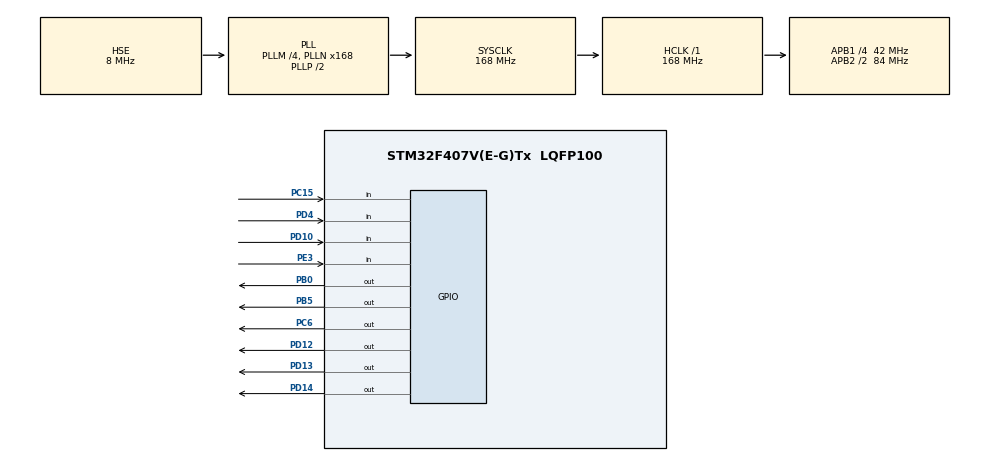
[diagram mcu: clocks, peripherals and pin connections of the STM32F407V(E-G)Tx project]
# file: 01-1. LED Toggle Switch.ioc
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Mcu.Family=STM32F4
Mcu.Name=STM32F407V(E-G)Tx
Mcu.Package=LQFP100
NVIC.PriorityGroup=NVIC_PRIORITYGROUP_4
PB0.Signal=GPIO_Output
PB5.Signal=GPIO_Output
PC15-OSC32_OUT.Signal=GPIO_Input
PC6.Signal=GPIO_Output
PD10.Signal=GPIO_Input
PD12.Signal=GPIO_Output
PD13.Signal=GPIO_Output
PD14.Signal=GPIO_Output
PD4.Signal=GPIO_Input
PE3.Signal=GPIO_Input
PH0-OSC_IN.Mode=HSE-External-Oscillator
PH0-OSC_IN.Signal=RCC_OSC_IN
PH1-OSC_OUT.Mode=HSE-External-Oscillator
PH1-OSC_OUT.Signal=RCC_OSC_OUT
ProjectManager.HeapSize=0x200
ProjectManager.StackSize=0x400
ProjectManager.TargetToolchain=STM32CubeIDE
RCC.48MHZClocksFreq_Value=84000000
RCC.AHBFreq_Value=168000000
RCC.APB1CLKDivider=RCC_HCLK_DIV4
RCC.APB1Freq_Value=42000000
RCC.APB1TimFreq_Value=84000000
RCC.APB2CLKDivider=RCC_HCLK_DIV2
RCC.APB2Freq_Value=84000000
RCC.APB2TimFreq_Value=168000000
RCC.CortexFreq_Value=168000000
RCC.HCLKFreq_Value=168000000
RCC.HSE_VALUE=8000000
RCC.HSI_VALUE=16000000
RCC.LSE_VALUE=32768
RCC.PLLM=4
RCC.PLLN=168
RCC.PLLSourceVirtual=RCC_PLLSOURCE_HSE
RCC.SYSCLKFreq_VALUE=168000000
RCC.SYSCLKSource=RCC_SYSCLKSOURCE_PLLCLK
RCC.VCOOutputFreq_Value=336000000
board=custom

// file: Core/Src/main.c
/* USER CODE BEGIN Header */
/**
  ******************************************************************************
  * @file           : main.c
  * @brief          : Main program body
  ******************************************************************************
  * @attention
  *
  * Copyright (c) 2025 STMicroelectronics.
  * All rights reserved.
  *
  * This software is licensed under terms that can be found in the LICENSE file
  * in the root directory of this software component.
  * If no LICENSE file comes with this software, it is provided AS-IS.
  *
  ******************************************************************************
  */
/* USER CODE END Header */
#include "main.h"
#include "gpio.h"

/* USER CODE BEGIN PV */
GPIO_PinState Prev_SW1_State = GPIO_PIN_RESET;
GPIO_PinState Prev_SW2_State = GPIO_PIN_RESET;
GPIO_PinState Prev_SW3_State = GPIO_PIN_RESET;

GPIO_PinState Curr_SW1_State = GPIO_PIN_RESET;
GPIO_PinState Curr_SW2_State = GPIO_PIN_RESET;
GPIO_PinState Curr_SW3_State = GPIO_PIN_RESET;

GPIO_PinState Pin_State;
/* USER CODE END PV */

void SystemClock_Config(void);

int main(void)
{

  /* MCU Configuration--------------------------------------------------------*/

  /* Reset of all peripherals, Initializes the Flash interface and the Systick. */
  HAL_Init();

  /* Configure the system clock */
  SystemClock_Config();

  /* Initialize all configured peripherals */
  MX_GPIO_Init();
  /* USER CODE BEGIN 2 */
  HAL_GPIO_WritePin(GPIOD, GPIO_PIN_12, GPIO_PIN_SET);
  HAL_GPIO_WritePin(GPIOD, GPIO_PIN_13, GPIO_PIN_SET);
  HAL_GPIO_WritePin(GPIOD, GPIO_PIN_14, GPIO_PIN_SET);

  HAL_GPIO_WritePin(GPIOC, GPIO_PIN_6, GPIO_PIN_SET);
  HAL_GPIO_WritePin(GPIOB, GPIO_PIN_5, GPIO_PIN_SET);
  HAL_GPIO_WritePin(GPIOB, GPIO_PIN_0, GPIO_PIN_SET);
  /* USER CODE END 2 */

  /* Infinite loop */
  /* USER CODE BEGIN WHILE */
  while (1)
  {
	  //SW1를 이용한 Left/Right Red LED 제어
	  Curr_SW1_State =  HAL_GPIO_ReadPin(GPIOE, GPIO_PIN_3);
	  if(Prev_SW1_State == GPIO_PIN_RESET && Curr_SW1_State == GPIO_PIN_SET) //SW1 누름
	  {
		  Pin_State = HAL_GPIO_ReadPin(GPIOD, GPIO_PIN_12);
		  HAL_GPIO_WritePin(GPIOD, GPIO_PIN_12, Pin_State = (GPIO_PinState)(!Pin_State));
	  }
	  else if(Prev_SW1_State == GPIO_PIN_SET && Curr_SW1_State == GPIO_PIN_RESET) //SW1 뗌
	  {
		  Pin_State = HAL_GPIO_ReadPin(GPIOC, GPIO_PIN_6);
		  HAL_GPIO_WritePin(GPIOC, GPIO_PIN_6, Pin_State = (GPIO_PinState)(!Pin_State));
	  }
	  Prev_SW1_State = Curr_SW1_State;

	  //SW2를 이용한 Left/Right Green LED 제어
	  Curr_SW2_State =  HAL_GPIO_ReadPin(GPIOC, GPIO_PIN_15);
	  if(Prev_SW2_State == GPIO_PIN_RESET && Curr_SW2_State == GPIO_PIN_SET) //SW2 누름
	  {
		  Pin_State = HAL_GPIO_ReadPin(GPIOD, GPIO_PIN_13);
		  HAL_GPIO_WritePin(GPIOD, GPIO_PIN_13, Pin_State = (GPIO_PinState)(!Pin_State));
	  }
	  else if(Prev_SW2_State == GPIO_PIN_SET && Curr_SW2_State == GPIO_PIN_RESET) //SW2 뗌
	  {
		  Pin_State = HAL_GPIO_ReadPin(GPIOB, GPIO_PIN_5);
		  HAL_GPIO_WritePin(GPIOB, GPIO_PIN_5, Pin_State = (GPIO_PinState)(!Pin_State));
	  }
	  Prev_SW2_State = Curr_SW2_State;

	  //SW2를 이용한 Left/Right Green LED 제어
	  Curr_SW3_State =  HAL_GPIO_ReadPin(GPIOD, GPIO_PIN_4);
	  if(Prev_SW3_State == GPIO_PIN_RESET && Curr_SW3_State == GPIO_PIN_SET) //SW3 누름
	  {
		  Pin_State = HAL_GPIO_ReadPin(GPIOD, GPIO_PIN_14);
		  HAL_GPIO_WritePin(GPIOD, GPIO_PIN_14, Pin_State = (GPIO_PinState)(!Pin_State));
	  }
	  else if(Prev_SW3_State == GPIO_PIN_SET && Curr_SW3_State == GPIO_PIN_RESET) //SW3 뗌
	  {
		  Pin_State = HAL_GPIO_ReadPin(GPIOB, GPIO_PIN_0);
		  HAL_GPIO_WritePin(GPIOB, GPIO_PIN_0, Pin_State = (GPIO_PinState)(!Pin_State));
	  }
	  Prev_SW3_State = Curr_SW3_State;

    /* USER CODE END WHILE */

  }
}

void SystemClock_Config(void)
{
  RCC_OscInitTypeDef RCC_OscInitStruct = {0};
  RCC_ClkInitTypeDef RCC_ClkInitStruct = {0};

  /** Configure the main internal regulator output voltage
  */
  __HAL_RCC_PWR_CLK_ENABLE();
  __HAL_PWR_VOLTAGESCALING_CONFIG(PWR_REGULATOR_VOLTAGE_SCALE1);

  /** Initializes the RCC Oscillators according to the specified parameters
  * in the RCC_OscInitTypeDef structure.
  */
  RCC_OscInitStruct.OscillatorType = RCC_OSCILLATORTYPE_HSE;
  RCC_OscInitStruct.HSEState = RCC_HSE_ON;
  RCC_OscInitStruct.PLL.PLLState = RCC_PLL_ON;
  RCC_OscInitStruct.PLL.PLLSource = RCC_PLLSOURCE_HSE;
  RCC_OscInitStruct.PLL.PLLM = 4;
  RCC_OscInitStruct.PLL.PLLN = 168;
  RCC_OscInitStruct.PLL.PLLP = RCC_PLLP_DIV2;
  RCC_OscInitStruct.PLL.PLLQ = 4;
  if (HAL_RCC_OscConfig(&RCC_OscInitStruct) != HAL_OK)
  {
    Error_Handler();
  }

  /** Initializes the CPU, AHB and APB buses clocks
  */
  RCC_ClkInitStruct.ClockType = RCC_CLOCKTYPE_HCLK|RCC_CLOCKTYPE_SYSCLK
                              |RCC_CLOCKTYPE_PCLK1|RCC_CLOCKTYPE_PCLK2;
  RCC_ClkInitStruct.SYSCLKSource = RCC_SYSCLKSOURCE_PLLCLK;
  RCC_ClkInitStruct.AHBCLKDivider = RCC_SYSCLK_DIV1;
  RCC_ClkInitStruct.APB1CLKDivider = RCC_HCLK_DIV4;
  RCC_ClkInitStruct.APB2CLKDivider = RCC_HCLK_DIV2;

  if (HAL_RCC_ClockConfig(&RCC_ClkInitStruct, FLASH_LATENCY_5) != HAL_OK)
  {
    Error_Handler();
  }
}

void Error_Handler(void)
{
  __disable_irq();
  while (1)
  {
  }
}
